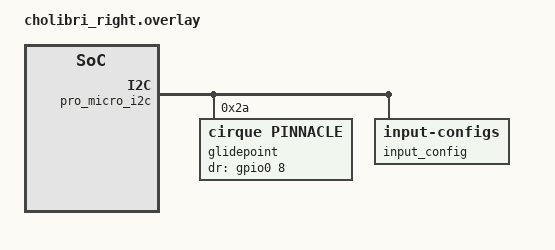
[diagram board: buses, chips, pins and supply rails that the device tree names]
#include "cholibri.dtsi" // Notice that the main dtsi files are included in the overlay.

&default_transform {
    col-offset = <6>;
};

&kscan0 {
    col-gpios
        = <&pro_micro 15 GPIO_ACTIVE_HIGH> // col6 in the schematic
        , <&pro_micro 14 GPIO_ACTIVE_HIGH> // col5 in the schematic
        , <&pro_micro 16 GPIO_ACTIVE_HIGH> // col4 in the schematic
        , <&pro_micro 10 GPIO_ACTIVE_HIGH> // col3 in the schematic
        , <&pro_micro 9 GPIO_ACTIVE_HIGH> // col2 in the schematic
        , <&pro_micro 8 GPIO_ACTIVE_HIGH> // col1 in the schematic
        
        ;
};

// From Pete: https://discord.com/channels/719497620560543766/845285481888743434/1206181117296644106
&pro_micro_i2c {
    status = "okay";
    glidepoint: glidepoint@2a {
        compatible = "cirque,pinnacle";
        reg = <0x2a>;
        status = "okay";
        dr-gpios = <&gpio0 8 (GPIO_ACTIVE_HIGH)>;

        sensitivity = "2x";
        sleep;
//      no-taps;
    };

    // Rotation config, from Pete
    // This will change in the future
    // https://discord.com/channels/719497620560543766/845285481888743434/1206407883777114182
    input_config {
        compatible = "zmk,input-configs";
    
        cirque_config {
            device = <&glidepoint>;
//          xy-swap;
            y-invert;
//          x-invert;
        };
    };
};

// for logging, remove later
// &usbd {
//     status = "okay";
//     cdc_acm_uart: cdc_acm_uart {
//         compatible = "zephyr,cdc-acm-uart";
//     };
// };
